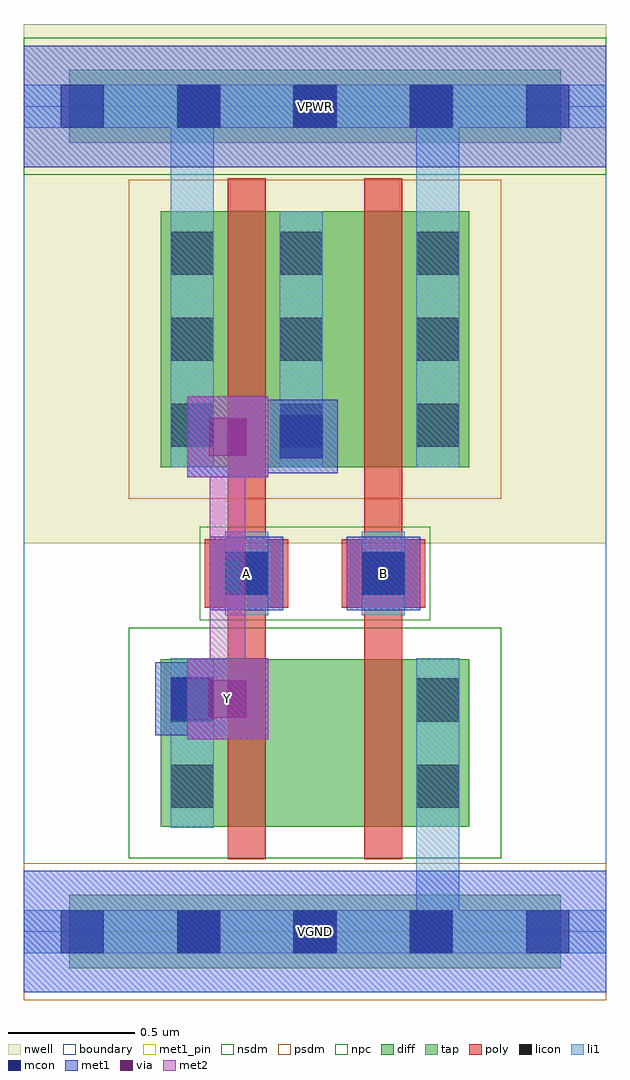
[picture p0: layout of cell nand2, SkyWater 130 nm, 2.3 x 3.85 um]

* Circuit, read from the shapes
.subckt nand2 A B VGND VPWR Y
XM1 n1 A Y VGND sky130_fd_pr__nfet_01v8 w=0.66 l=0.15
XM2 VGND B n1 VGND sky130_fd_pr__nfet_01v8 w=0.66 l=0.15
XM3 Y A VPWR VPWR sky130_fd_pr__pfet_01v8 w=1.01 l=0.15
XM4 VPWR B Y VPWR sky130_fd_pr__pfet_01v8 w=1.01 l=0.15
.ends

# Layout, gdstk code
import gdstk
lib = gdstk.Library(unit=1e-6, precision=1e-09)
def R(c, l, rs):  # rectangles x0, y0, x1, y1
    for r in rs: c.add(gdstk.rectangle(r[:2], r[2:], *l))
def A(c, l, x, y, w, h, nx, ny, dx, dy):  # array of equal rectangles
    R(c, l, [(x+i*dx, y+j*dy, x+i*dx+w, y+j*dy+h) for i in range(nx) for j in range(ny)])
nwell = (64, 20)
diff = (65, 20)
tap = (65, 44)
poly = (66, 20)
licon = (66, 44)
li1 = (67, 20)
mcon = (67, 44)
met1_pin = (68, 16)
met1 = (68, 20)
via = (68, 44)
met2 = (69, 20)
nsdm = (93, 44)
psdm = (94, 20)
npc = (95, 20)
boundary = (235, 4)

nand2 = lib.new_cell('nand2')
R(nand2, nwell, [(0,1.535,2.3,3.585)])
R(nand2, diff, [(0.54,0.415,1.76,1.075), (0.54,1.835,1.76,2.845)])
R(nand2, tap, [(0.18,-0.145,2.12,0.145), (0.18,3.115,2.12,3.405)])
R(nand2, poly, [(0.805,0.285,0.955,2.975), (1.345,0.285,1.495,2.975), (0.715,1.28,1.045,1.55), (1.255,1.28,1.585,1.55)])
A(nand2, licon, 0.605, -0.085, 0.17, 0.17, 3, 2, 0.46, 3.26)
A(nand2, licon, 0.58, 1.915, 0.17, 0.17, 1, 3, 0, 0.34)
A(nand2, licon, 1.01, 1.915, 0.17, 0.17, 1, 3, 0, 0.34)
A(nand2, licon, 1.55, 1.915, 0.17, 0.17, 1, 3, 0, 0.34)
R(nand2, licon, [(0.58,0.49,0.75,0.66), (1.55,0.49,1.72,0.66), (0.58,0.83,0.75,1), (1.55,0.83,1.72,1), (0.795,1.33,0.965,1.5), (1.335,1.33,1.505,1.5)])
R(nand2, li1, [(0,-0.085,2.3,0.085), (1.55,-0.085,1.72,1.08), (0.58,0.41,0.75,1.08), (1.55,0.41,1.72,1.08), (0.795,1.25,0.965,1.58), (1.335,1.25,1.505,1.58), (0.58,1.835,0.75,2.845), (0.58,1.835,0.75,3.345), (1.01,1.835,1.18,2.845), (1.55,1.835,1.72,2.845), (1.55,1.835,1.72,3.345), (0,3.175,2.3,3.345)])
A(nand2, mcon, 0.145, -0.085, 0.17, 0.17, 5, 2, 0.46, 3.26)
R(nand2, mcon, [(0.58,0.835,0.75,1.005), (0.795,1.33,0.965,1.5), (1.335,1.33,1.505,1.5), (1.01,1.87,1.18,2.04)])
R(nand2, met1_pin, [(0,-0.24,2.3,0.24), (0.645,0.76,0.965,1.08), (0.735,1.27,1.025,1.56), (1.275,1.27,1.565,1.56), (0,3.02,2.3,3.5)])
R(nand2, met1, [(0,-0.24,2.3,0.24), (0.645,0.76,0.965,1.08), (0.52,0.775,0.81,1.065), (0.595,0.85,0.875,0.99), (0.735,1.27,1.025,1.56), (1.275,1.27,1.565,1.56), (0.645,1.795,0.965,2.115), (0.95,1.81,1.24,2.1), (0.735,1.885,0.99,2.025), (0.85,1.885,1.165,2.025), (0,3.02,2.3,3.5)])
R(nand2, via, [(0.73,0.845,0.88,0.995), (0.73,1.88,0.88,2.03)])
R(nand2, met2, [(0.645,0.76,0.965,1.08), (0.735,0.85,0.875,2.025), (0.645,1.795,0.965,2.115)])
R(nand2, nsdm, [(0.415,0.29,1.885,1.2), (0,2.99,2.3,3.53)])
R(nand2, psdm, [(0,-0.27,2.3,0.27), (0.415,1.71,1.885,2.97)])
R(nand2, npc, [(0.695,1.23,1.605,1.6)])
R(nand2, boundary, [(0,0,2.3,3.26)])
nand2.add(gdstk.Label('A', (0.88,1.415), layer=68, texttype=5))
nand2.add(gdstk.Label('B', (1.42,1.415), layer=68, texttype=5))
nand2.add(gdstk.Label('Y', (0.805,0.92), layer=68, texttype=5))
nand2.add(gdstk.Label('VPWR', (1.15,3.26), layer=68, texttype=5))
nand2.add(gdstk.Label('VGND', (1.15,0), layer=68, texttype=5))
nand2.add(gdstk.Label('A', (0.88,1.415), layer=68, texttype=16))
nand2.add(gdstk.Label('B', (1.42,1.415), layer=68, texttype=16))
nand2.add(gdstk.Label('Y', (0.805,0.92), layer=68, texttype=16))
nand2.add(gdstk.Label('VPWR', (1.15,3.26), layer=68, texttype=16))
nand2.add(gdstk.Label('VGND', (1.15,0), layer=68, texttype=16))

lib.write_gds('nand2.gds')
